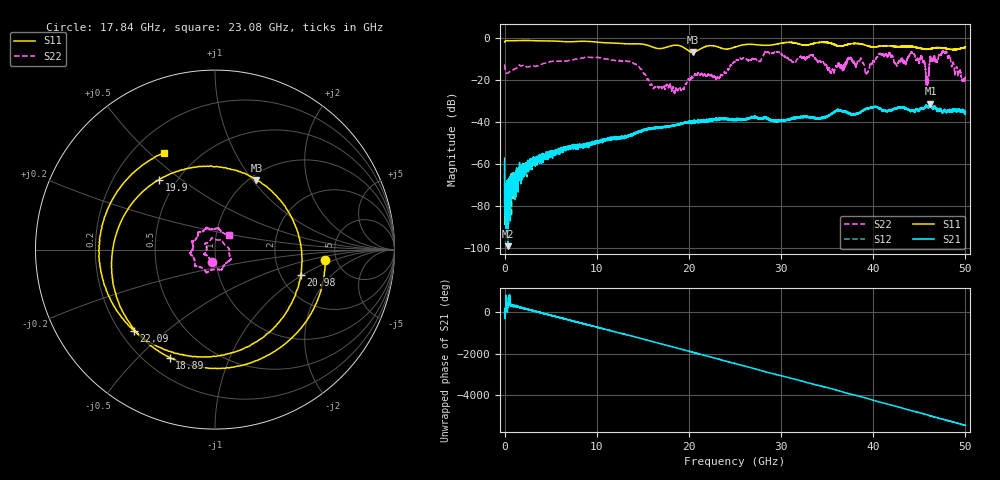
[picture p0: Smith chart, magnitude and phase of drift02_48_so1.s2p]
!Created with skrf (http://scikit-rf.org).
# Hz S RI R 50.0
!freq ReS11 ImS11 ReS21 ImS21 ReS12 ImS12 ReS22 ImS22
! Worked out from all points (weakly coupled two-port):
!   10001 points, 300 kHz to 50 GHz, reference 50 ohm
!   highest |S21| = -31.45 dB at 46.21 GHz (marker M1); lowest = -99.4 dB at 370.3 MHz (marker M2)
!   lowest |S11| = -6.9 dB at 20.4 GHz (marker M3), VSWR 2.64, Z = 53.8 + j52.2 ohm
!   |S11| at or under -10 dB: nowhere
!   |S22| runs from -26.8 to -6.0 dB; largest |S21 - S12| = 0.0037
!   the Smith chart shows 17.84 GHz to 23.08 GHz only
!   S11 on the Smith chart (normalised r, x): 17.84 GHz: 4.07, -0.79; 18.89 GHz: 0.30, -0.62; 19.9 GHz: 0.40, +0.42; 20.98 GHz: 2.56, -0.96; 22.09 GHz: 0.26, -0.39; 23.08 GHz: 0.32, +0.55
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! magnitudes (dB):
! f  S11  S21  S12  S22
! 300 kHz  -2.0  -59.2  -57.0  -12.8
! 370.3 MHz  -1.4  -99.4  -68.2  -16.8
! 3.17 GHz  -1.4  -60.6  -58.4  -13.5
! 8.335 GHz  -1.7  -51.3  -51.1  -9.7
! 13.7 GHz  -3.0  -46.3  -46.6  -11.7
! 16.67 GHz  -5.2  -43.0  -42.7  -23.6
! 17.84 GHz  -4.2  -42.1  -42.3  -22.9
! 18.89 GHz  -3.7  -41.0  -41.4  -24.0
! 19.9 GHz  -6.0  -40.4  -40.4  -19.9
! 20.4 GHz  -6.9  -40.6  -39.7  -19.0
! 20.98 GHz  -6.1  -39.7  -40.1  -16.8
! 22.09 GHz  -3.9  -39.7  -39.2  -17.5
! 23.08 GHz  -4.3  -39.1  -38.6  -18.9
! 25 GHz  -4.5  -39.2  -38.8  -11.5
! 33.34 GHz  -3.0  -37.8  -38.0  -8.4
! 39.33 GHz  -3.8  -33.5  -33.6  -16.7
! 41.67 GHz  -3.9  -34.7  -34.8  -7.8
! 44.27 GHz  -4.2  -34.6  -34.6  -7.4
! 45.85 GHz  -5.5  -33.3  -32.7  -20.6
! 46.21 GHz  -5.3  -31.4  -31.8  -9.2
! 47.75 GHz  -5.0  -34.9  -34.6  -7.1
! 50 GHz  -4.6  -35.3  -35.5  -18.8
